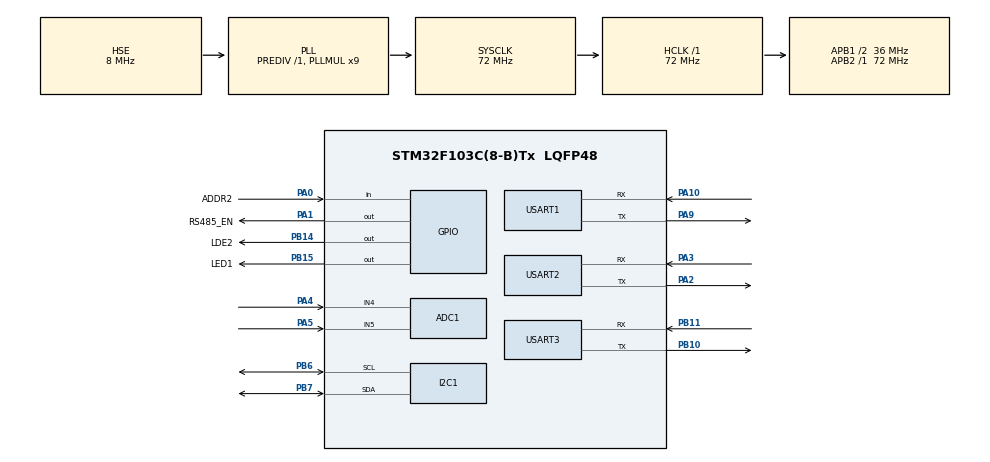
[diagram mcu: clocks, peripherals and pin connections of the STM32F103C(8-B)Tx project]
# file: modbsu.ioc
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ADC1.Channel-0\#ChannelRegularConversion=ADC_CHANNEL_4
ADC1.NbrOfConversionFlag=1
ADC1.Rank-0\#ChannelRegularConversion=1
ADC1.SamplingTime-0\#ChannelRegularConversion=ADC_SAMPLETIME_1CYCLE_5
ADC1.master=1
FREERTOS.Queues01=myQueue01,16,uint16_t,0,Dynamic,NULL,NULL
FREERTOS.Tasks01=defaultTask,24,128,StartDefaultTask,Default,NULL,Dynamic,NULL,NULL;myTask02,8,256,StartTask02,Default,NULL,Dynamic,NULL,NULL;myTask03,8,256,StartTask03,Default,NULL,Dynamic,NULL,NULL
FREERTOS.Timers01=myTimer01,Callback01,osTimerPeriodic,Default,NULL,Dynamic,NULL
FREERTOS.configMAX_PRIORITIES=32
FREERTOS.configTOTAL_HEAP_SIZE=8192
FREERTOS.configUSE_TIMERS=1
Mcu.Family=STM32F1
Mcu.Name=STM32F103C(8-B)Tx
Mcu.Package=LQFP48
NVIC.PriorityGroup=NVIC_PRIORITYGROUP_4
NVIC.TIM2_IRQn=true\:15\:0\:false\:false\:true\:false\:false\:true
NVIC.TimeBase=TIM2_IRQn
NVIC.TimeBaseIP=TIM2
NVIC.USART1_IRQn=true\:5\:0\:false\:false\:true\:true\:true\:false
NVIC.USART2_IRQn=true\:5\:0\:false\:false\:true\:true\:true\:false
NVIC.USART3_IRQn=true\:5\:0\:false\:false\:true\:true\:true\:false
PA0-WKUP.GPIO_Label=ADDR2
PA0-WKUP.Signal=GPIO_Input
PA1.GPIO_Label=RS485_EN
PA1.Signal=GPIO_Output
PA10.Mode=Asynchronous
PA10.Signal=USART1_RX
PA13.Mode=JTAG_5_pins
PA13.Signal=SYS_JTMS-SWDIO
PA14.Mode=JTAG_5_pins
PA14.Signal=SYS_JTCK-SWCLK
PA15.Mode=JTAG_5_pins
PA15.Signal=SYS_JTDI
PA2.Mode=Asynchronous
PA2.Signal=USART2_TX
PA3.Mode=Asynchronous
PA3.Signal=USART2_RX
PA4.Signal=ADCx_IN4
PA5.Signal=ADCx_IN5
PA9.Mode=Asynchronous
PA9.Signal=USART1_TX
PB10.Mode=Asynchronous
PB10.Signal=USART3_TX
PB11.Mode=Asynchronous
PB11.Signal=USART3_RX
PB14.GPIO_Label=LDE2
PB14.PinState=GPIO_PIN_SET
PB14.Signal=GPIO_Output
PB15.GPIO_Label=LED1
PB15.PinState=GPIO_PIN_SET
PB15.Signal=GPIO_Output
PB3.Mode=JTAG_5_pins
PB3.Signal=SYS_JTDO-TRACESWO
PB4.Mode=JTAG_5_pins
PB4.Signal=SYS_NJTRST
PB6.Mode=I2C
PB6.Signal=I2C1_SCL
PB7.Mode=I2C
PB7.Signal=I2C1_SDA
PC14-OSC32_IN.Mode=LSE-External-Oscillator
PC14-OSC32_IN.Signal=RCC_OSC32_IN
PC15-OSC32_OUT.Mode=LSE-External-Oscillator
PC15-OSC32_OUT.Signal=RCC_OSC32_OUT
PD0-OSC_IN.Mode=HSE-External-Oscillator
PD0-OSC_IN.Signal=RCC_OSC_IN
PD1-OSC_OUT.Mode=HSE-External-Oscillator
PD1-OSC_OUT.Signal=RCC_OSC_OUT
ProjectManager.HeapSize=0x200
ProjectManager.StackSize=0x400
ProjectManager.TargetToolchain=EWARM V8
RCC.ADCPresc=RCC_ADCPCLK2_DIV6
RCC.AHBFreq_Value=72000000
RCC.APB1CLKDivider=RCC_HCLK_DIV2
RCC.APB1Freq_Value=36000000
RCC.APB1TimFreq_Value=72000000
RCC.APB2Freq_Value=72000000
RCC.APB2TimFreq_Value=72000000
RCC.HCLKFreq_Value=72000000
RCC.PLLMUL=RCC_PLL_MUL9
RCC.PLLSourceVirtual=RCC_PLLSOURCE_HSE
RCC.SYSCLKFreq_VALUE=72000000
RCC.SYSCLKSource=RCC_SYSCLKSOURCE_PLLCLK
RCC.USBFreq_Value=72000000
SH.ADCx_IN4.0=ADC1_IN4,IN4
SH.ADCx_IN5.0=ADC1_IN5,IN5
USART1.VirtualMode=VM_ASYNC
USART2.VirtualMode=VM_ASYNC
USART3.VirtualMode=VM_ASYNC
VP_FREERTOS_VS_CMSIS_V2.Mode=CMSIS_V2
VP_SYS_VS_tim2.Mode=TIM2
board=custom

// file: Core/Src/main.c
/* USER CODE BEGIN Header */
/**
  ******************************************************************************
  * @file           : main.c
  * @brief          : Main program body
  ******************************************************************************
  * @attention
  *
  * <h2><center>&copy; Copyright (c) 2021 STMicroelectronics.
  * All rights reserved.</center></h2>
  *
  * This software component is licensed by ST under Ultimate Liberty license
  * SLA0044, the "License"; You may not use this file except in compliance with
  * the License. You may obtain a copy of the License at:
  *                             www.st.com/SLA0044
  *
  ******************************************************************************
  */
/* USER CODE END Header */
#include "main.h"
#include "cmsis_os.h"

/* USER CODE BEGIN Includes */
#include "user_mb_app.h"
#include "log.h"
/* USER CODE END Includes */

/* USER CODE BEGIN PTD */
extern USHORT   usSRegHoldBuf[S_REG_HOLDING_NREGS];
extern TIM_HandleTypeDef htim2;
/* USER CODE END PTD */

ADC_HandleTypeDef hadc1;

I2C_HandleTypeDef hi2c1;

UART_HandleTypeDef huart1;
UART_HandleTypeDef huart2;
UART_HandleTypeDef huart3;

/* Definitions for defaultTask */
osThreadId_t defaultTaskHandle;
const osThreadAttr_t defaultTask_attributes = {
  .name = "defaultTask",
  .stack_size = 128 * 4,
  .priority = (osPriority_t) osPriorityNormal,
};
/* Definitions for myTask02 */
osThreadId_t myTask02Handle;
const osThreadAttr_t myTask02_attributes = {
  .name = "myTask02",
  .stack_size = 256 * 4,
  .priority = (osPriority_t) osPriorityLow,
};
/* Definitions for myTask03 */
osThreadId_t myTask03Handle;
const osThreadAttr_t myTask03_attributes = {
  .name = "myTask03",
  .stack_size = 256 * 4,
  .priority = (osPriority_t) osPriorityLow,
};
/* Definitions for myQueue01 */
osMessageQueueId_t myQueue01Handle;
const osMessageQueueAttr_t myQueue01_attributes = {
  .name = "myQueue01"
};
/* Definitions for myTimer01 */
osTimerId_t myTimer01Handle;
const osTimerAttr_t myTimer01_attributes = {
  .name = "myTimer01"
};
/* Definitions for myEvent01 */
osEventFlagsId_t myEvent01Handle;
const osEventFlagsAttr_t myEvent01_attributes = {
  .name = "myEvent01"
};

void SystemClock_Config(void);
static void MX_GPIO_Init(void);
static void MX_USART1_UART_Init(void);
static void MX_USART2_UART_Init(void);
static void MX_USART3_UART_Init(void);
static void MX_ADC1_Init(void);
static void MX_I2C1_Init(void);
void StartDefaultTask(void *argument);
void StartTask02(void *argument);
void StartTask03(void *argument);
void Callback01(void *argument);

int main(void)
{

  /* MCU Configuration--------------------------------------------------------*/

  /* Reset of all peripherals, Initializes the Flash interface and the Systick. */
  HAL_Init();

  /* Configure the system clock */
  SystemClock_Config();

  /* Initialize all configured peripherals */
  MX_GPIO_Init();
  MX_USART1_UART_Init();
  MX_USART2_UART_Init();
  MX_USART3_UART_Init();
  MX_ADC1_Init();
  MX_I2C1_Init();

  /* Init scheduler */
  osKernelInitialize();

  /* Create the timer(s) */
  /* creation of myTimer01 */
  myTimer01Handle = osTimerNew(Callback01, osTimerPeriodic, NULL, &myTimer01_attributes);

  /* Create the queue(s) */
  /* creation of myQueue01 */
  myQueue01Handle = osMessageQueueNew (16, sizeof(uint16_t), &myQueue01_attributes);

  /* Create the thread(s) */
  /* creation of defaultTask */
  defaultTaskHandle = osThreadNew(StartDefaultTask, NULL, &defaultTask_attributes);

  /* creation of myTask02 */
  myTask02Handle = osThreadNew(StartTask02, NULL, &myTask02_attributes);

  /* creation of myTask03 */
  myTask03Handle = osThreadNew(StartTask03, NULL, &myTask03_attributes);

  /* USER CODE BEGIN RTOS_THREADS */
  /* add threads, ... */

  eMBInit(MB_RTU, 0x01, 1, 115200, MB_PAR_NONE);
  eMBEnable();

  /* USER CODE END RTOS_THREADS */

  /* Create the event(s) */
  /* creation of myEvent01 */
  myEvent01Handle = osEventFlagsNew(&myEvent01_attributes);

  /* USER CODE BEGIN RTOS_EVENTS */
  /* add events, ... */
  elog_port_init();
  /* USER CODE END RTOS_EVENTS */

  /* Start scheduler */
  osKernelStart();

  /* We should never get here as control is now taken by the scheduler */
  /* Infinite loop */
  while (1)
  {

  }
}

void SystemClock_Config(void)
{
  RCC_OscInitTypeDef RCC_OscInitStruct = {0};
  RCC_ClkInitTypeDef RCC_ClkInitStruct = {0};
  RCC_PeriphCLKInitTypeDef PeriphClkInit = {0};

  /** Initializes the RCC Oscillators according to the specified parameters
  * in the RCC_OscInitTypeDef structure.
  */
  RCC_OscInitStruct.OscillatorType = RCC_OSCILLATORTYPE_HSE;
  RCC_OscInitStruct.HSEState = RCC_HSE_ON;
  RCC_OscInitStruct.HSEPredivValue = RCC_HSE_PREDIV_DIV1;
  RCC_OscInitStruct.HSIState = RCC_HSI_ON;
  RCC_OscInitStruct.PLL.PLLState = RCC_PLL_ON;
  RCC_OscInitStruct.PLL.PLLSource = RCC_PLLSOURCE_HSE;
  RCC_OscInitStruct.PLL.PLLMUL = RCC_PLL_MUL9;
  if (HAL_RCC_OscConfig(&RCC_OscInitStruct) != HAL_OK)
  {
    Error_Handler();
  }
  /** Initializes the CPU, AHB and APB buses clocks
  */
  RCC_ClkInitStruct.ClockType = RCC_CLOCKTYPE_HCLK|RCC_CLOCKTYPE_SYSCLK
                              |RCC_CLOCKTYPE_PCLK1|RCC_CLOCKTYPE_PCLK2;
  RCC_ClkInitStruct.SYSCLKSource = RCC_SYSCLKSOURCE_PLLCLK;
  RCC_ClkInitStruct.AHBCLKDivider = RCC_SYSCLK_DIV1;
  RCC_ClkInitStruct.APB1CLKDivider = RCC_HCLK_DIV2;
  RCC_ClkInitStruct.APB2CLKDivider = RCC_HCLK_DIV1;

  if (HAL_RCC_ClockConfig(&RCC_ClkInitStruct, FLASH_LATENCY_2) != HAL_OK)
  {
    Error_Handler();
  }
  PeriphClkInit.PeriphClockSelection = RCC_PERIPHCLK_ADC;
  PeriphClkInit.AdcClockSelection = RCC_ADCPCLK2_DIV6;
  if (HAL_RCCEx_PeriphCLKConfig(&PeriphClkInit) != HAL_OK)
  {
    Error_Handler();
  }
}

static void MX_ADC1_Init(void)
{

  ADC_ChannelConfTypeDef sConfig = {0};

  /** Common config
  */
  hadc1.Instance = ADC1;
  hadc1.Init.ScanConvMode = ADC_SCAN_DISABLE;
  hadc1.Init.ContinuousConvMode = DISABLE;
  hadc1.Init.DiscontinuousConvMode = DISABLE;
  hadc1.Init.ExternalTrigConv = ADC_SOFTWARE_START;
  hadc1.Init.DataAlign = ADC_DATAALIGN_RIGHT;
  hadc1.Init.NbrOfConversion = 1;
  if (HAL_ADC_Init(&hadc1) != HAL_OK)
  {
    Error_Handler();
  }
  /** Configure Regular Channel
  */
  sConfig.Channel = ADC_CHANNEL_4;
  sConfig.Rank = ADC_REGULAR_RANK_1;
  sConfig.SamplingTime = ADC_SAMPLETIME_1CYCLE_5;
  if (HAL_ADC_ConfigChannel(&hadc1, &sConfig) != HAL_OK)
  {
    Error_Handler();
  }

}

static void MX_I2C1_Init(void)
{

  hi2c1.Instance = I2C1;
  hi2c1.Init.ClockSpeed = 100000;
  hi2c1.Init.DutyCycle = I2C_DUTYCYCLE_2;
  hi2c1.Init.OwnAddress1 = 0;
  hi2c1.Init.AddressingMode = I2C_ADDRESSINGMODE_7BIT;
  hi2c1.Init.DualAddressMode = I2C_DUALADDRESS_DISABLE;
  hi2c1.Init.OwnAddress2 = 0;
  hi2c1.Init.GeneralCallMode = I2C_GENERALCALL_DISABLE;
  hi2c1.Init.NoStretchMode = I2C_NOSTRETCH_DISABLE;
  if (HAL_I2C_Init(&hi2c1) != HAL_OK)
  {
    Error_Handler();
  }

}

static void MX_USART1_UART_Init(void)
{

  huart1.Instance = USART1;
  huart1.Init.BaudRate = 115200;
  huart1.Init.WordLength = UART_WORDLENGTH_8B;
  huart1.Init.StopBits = UART_STOPBITS_1;
  huart1.Init.Parity = UART_PARITY_NONE;
  huart1.Init.Mode = UART_MODE_TX_RX;
  huart1.Init.HwFlowCtl = UART_HWCONTROL_NONE;
  huart1.Init.OverSampling = UART_OVERSAMPLING_16;
  if (HAL_UART_Init(&huart1) != HAL_OK)
  {
    Error_Handler();
  }

}

static void MX_USART2_UART_Init(void)
{

  huart2.Instance = USART2;
  huart2.Init.BaudRate = 115200;
  huart2.Init.WordLength = UART_WORDLENGTH_8B;
  huart2.Init.StopBits = UART_STOPBITS_1;
  huart2.Init.Parity = UART_PARITY_NONE;
  huart2.Init.Mode = UART_MODE_TX_RX;
  huart2.Init.HwFlowCtl = UART_HWCONTROL_NONE;
  huart2.Init.OverSampling = UART_OVERSAMPLING_16;
  if (HAL_UART_Init(&huart2) != HAL_OK)
  {
    Error_Handler();
  }

}

static void MX_USART3_UART_Init(void)
{

  huart3.Instance = USART3;
  huart3.Init.BaudRate = 115200;
  huart3.Init.WordLength = UART_WORDLENGTH_8B;
  huart3.Init.StopBits = UART_STOPBITS_1;
  huart3.Init.Parity = UART_PARITY_NONE;
  huart3.Init.Mode = UART_MODE_TX_RX;
  huart3.Init.HwFlowCtl = UART_HWCONTROL_NONE;
  huart3.Init.OverSampling = UART_OVERSAMPLING_16;
  if (HAL_UART_Init(&huart3) != HAL_OK)
  {
    Error_Handler();
  }

}

static void MX_GPIO_Init(void)
{
  GPIO_InitTypeDef GPIO_InitStruct = {0};

  /* GPIO Ports Clock Enable */
  __HAL_RCC_GPIOC_CLK_ENABLE();
  __HAL_RCC_GPIOD_CLK_ENABLE();
  __HAL_RCC_GPIOA_CLK_ENABLE();
  __HAL_RCC_GPIOB_CLK_ENABLE();

  /*Configure GPIO pin Output Level */
  HAL_GPIO_WritePin(RS485_EN_GPIO_Port, RS485_EN_Pin, GPIO_PIN_RESET);

  /*Configure GPIO pin Output Level */
  HAL_GPIO_WritePin(GPIOB, LDE2_Pin|LED1_Pin, GPIO_PIN_SET);

  /*Configure GPIO pin : ADDR2_Pin */
  GPIO_InitStruct.Pin = ADDR2_Pin;
  GPIO_InitStruct.Mode = GPIO_MODE_INPUT;
  GPIO_InitStruct.Pull = GPIO_NOPULL;
  HAL_GPIO_Init(ADDR2_GPIO_Port, &GPIO_InitStruct);

  /*Configure GPIO pin : RS485_EN_Pin */
  GPIO_InitStruct.Pin = RS485_EN_Pin;
  GPIO_InitStruct.Mode = GPIO_MODE_OUTPUT_PP;
  GPIO_InitStruct.Pull = GPIO_NOPULL;
  GPIO_InitStruct.Speed = GPIO_SPEED_FREQ_LOW;
  HAL_GPIO_Init(RS485_EN_GPIO_Port, &GPIO_InitStruct);

  /*Configure GPIO pins : LDE2_Pin LED1_Pin */
  GPIO_InitStruct.Pin = LDE2_Pin|LED1_Pin;
  GPIO_InitStruct.Mode = GPIO_MODE_OUTPUT_PP;
  GPIO_InitStruct.Pull = GPIO_NOPULL;
  GPIO_InitStruct.Speed = GPIO_SPEED_FREQ_LOW;
  HAL_GPIO_Init(GPIOB, &GPIO_InitStruct);

}

void StartDefaultTask(void *argument)
{
  /* USER CODE BEGIN 5 */
  uint16_t i = 0 ;
  /* Infinite loop */
  for(;;)
  {
    HAL_GPIO_TogglePin(GPIOB,LDE2_Pin);
    usSRegHoldBuf[1] = i;
    i++;
    osDelay(100);
  }
  /* USER CODE END 5 */
}

void StartTask02(void *argument)
{
  /* USER CODE BEGIN StartTask02 */
  /* Infinite loop */
  uint32_t ltemp;
  for(;;)
  {
    ltemp = HAL_GetTick();
    usSRegHoldBuf[3] = (uint16_t)ltemp;
    usSRegHoldBuf[4] = (uint16_t)(ltemp>>16);
    eMBPoll();
    osDelay(10);
  }
  /* USER CODE END StartTask02 */
}

void StartTask03(void *argument)
{
  /* USER CODE BEGIN StartTask03 */
  uint8_t test[]="123345\r\n";
  uint16_t cnt = 0;
  /* Infinite loop */
  for(;;)
  {
//    HAL_UART_Transmit_IT( &huart1,test,8 );
    HAL_GPIO_TogglePin(GPIOB,LED1_Pin);
    usSRegHoldBuf[0] = cnt;
    cnt++;
    osDelay(500);
  }
  /* USER CODE END StartTask03 */
}

/* Callback01 function */
void Callback01(void *argument)
{
}

void HAL_TIM_PeriodElapsedCallback(TIM_HandleTypeDef *htim)
{
  if (htim->Instance == TIM2) {
    HAL_IncTick();
  }
}

void Error_Handler(void)
{
  __disable_irq();
  while (1)
  {
  }
}

/************************ (C) COPYRIGHT STMicroelectronics *****END OF FILE****/
